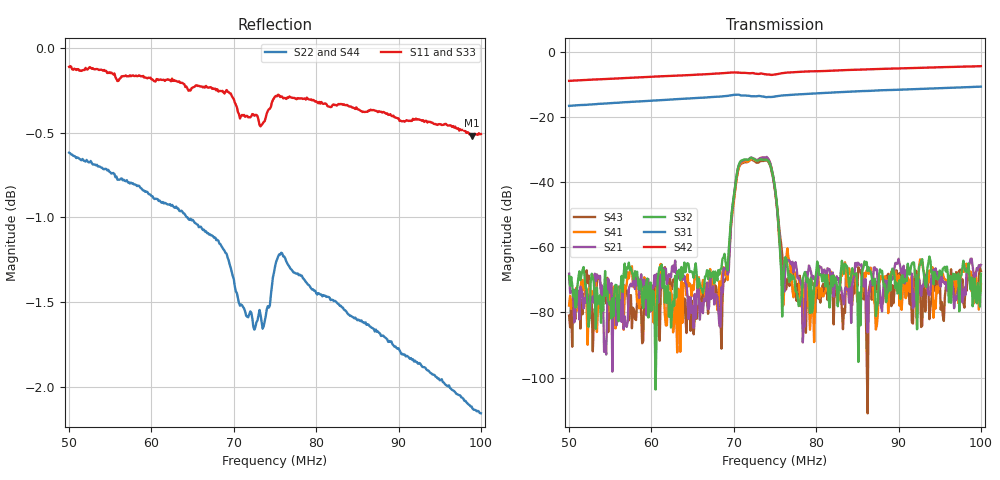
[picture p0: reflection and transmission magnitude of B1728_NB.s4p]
#  HZ  S  RI  R  50.0000
! Rohde & Schwarz ZVA/B
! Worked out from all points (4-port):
!   401 points, 50 MHz to 100 MHz, reference 50 ohm
!   strongest paths, dB at 50 MHz, 62.5 MHz, 75 MHz, 87.5 MHz, 100 MHz:
!     S42: -8.8, -7.3, -6.9, -5.2, -4.3
!     S31: -16.5, -14.5, -13.6, -11.8, -10.6
!     S32: -68.8, -79.8, -41.6, -76.8, -68.1
!     S21: -68.1, -65.9, -42.3, -71.4, -65.4
!     S41: -77.8, -75.1, -42.1, -79.7, -71.4
!     S43: -81.0, -72.9, -42.5, -71.3, -67.3
!   lowest |S11| = -0.5 dB at 98.88 MHz (marker M1), VSWR 33.58, Z = 26.4 - j203 ohm
!   |S11| at or under -10 dB: nowhere
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5e7  0.9561 -0.2455  1.85e-05 -5.41e-05  0.0494 0.1346  1.27e-05 -0.000127
     0.000167 0.000356  0.8392 -0.4037  0.000142 0.000362  0.1767 0.3055
     0.0442 0.1424  0.000118 0.000343  0.9589 -0.2408  1.09e-05 -0.000292
     -0.000113 -6.07e-05  0.1762 0.3157  -8.59e-05 2.52e-05  0.847 -0.4018
6.8125e7  0.9146 -0.3251  -0.000208 0.000138  0.0874 0.1758  -1.06e-05 0.000265
          -7.75e-05 6.67e-05  0.7243 -0.4949  0.000183 0.000215  0.2874 0.3585
          0.0808 0.1896  0.000266 0.000358  0.9204 -0.3177  7.66e-05 0.000194
          4.25e-05 0.000115  0.2867 0.3718  9.08e-05 0.000179  0.7365 -0.4905
7.0625e7  0.8949 -0.3361  0.0179 -0.00448  0.1086 0.1799  -0.0172 0.00559
          0.0182 -0.00355  0.6849 -0.4879  -0.0181 0.00463  0.3226 0.3481
          0.1031 0.1957  -0.0181 0.00467  0.8996 -0.3298  0.0173 -0.00596
          -0.0169 0.00372  0.3214 0.361  0.0165 -0.00449  0.6996 -0.4834
7.3625e7  0.8938 -0.3242  -0.0172 0.0165  0.1034 0.1669  0.0172 -0.0175
          -0.018 0.0159  0.6897 -0.458  0.017 -0.0133  0.3173 0.3218
          0.0993 0.1818  0.0176 -0.0134  0.9037 -0.3173  -0.0165 0.0159
          0.0179 -0.0152  0.3159 0.3341  -0.0163 0.0136  0.701 -0.456
7.8375e7  0.898 -0.3554  8.89e-05 0.000112  0.1023 0.1879  0.000109 0.000185
          -2.49e-05 2.4e-05  0.685 -0.5124  -2.29e-05 0.000319  0.3248 0.3669
          0.096 0.2047  -0.000104 0.000318  0.9049 -0.3473  0.000199 0.000207
          5.9e-05 2.89e-05  0.3226 0.382  0.000144 0.000247  0.6988 -0.5083
9.8875e7  0.8373 -0.4319  4.41e-05 0.000558  0.1562 0.2273  0.000104 4.95e-05
          0.000185 0.000646  0.5616 -0.5471  6.89e-05 0.000127  0.4488 0.3867
          0.1493 0.2492  0.000334 8.74e-05  0.8495 -0.4234  -0.000105 0.000418
          4.38e-05 0.000207  0.4494 0.3999  1.33e-05 0.000251  0.58 -0.5442
1e8  0.8365 -0.4357  0.000321 0.000428  0.1593 0.2299  -5.16e-06 0.000205
     0.000376 0.000387  0.5561 -0.5476  -0.000253 0.000162  0.4561 0.3866
     0.1528 0.2519  -0.000137 0.000369  0.8485 -0.4263  0.000305 0.000231
     4.46e-05 0.000266  0.4566 0.4005  1.83e-05 0.000433  0.5732 -0.5456
